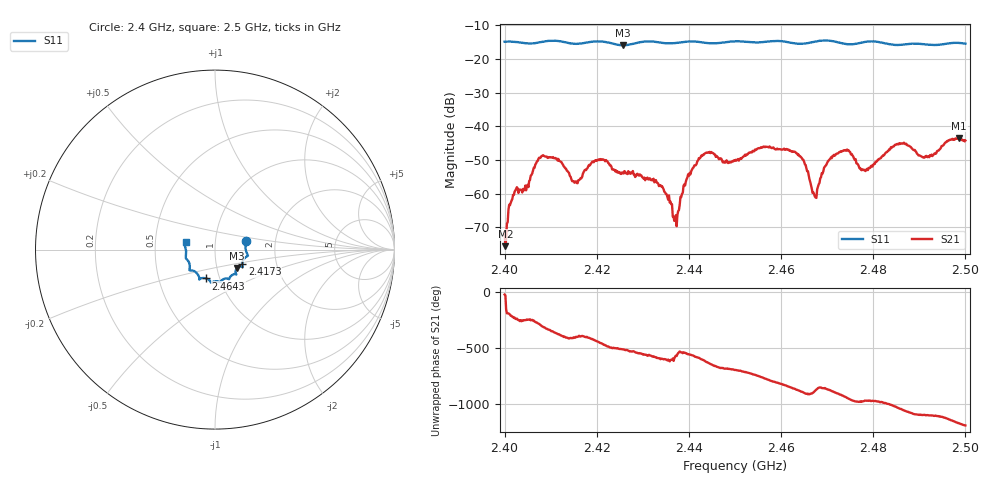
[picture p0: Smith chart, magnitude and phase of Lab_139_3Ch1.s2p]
# Hz S RI R 50
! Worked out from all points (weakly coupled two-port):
!   601 points, 2.4 GHz to 2.5 GHz, reference 50 ohm
!   highest |S21| = -43.48 dB at 2.4987 GHz (marker M1); lowest = -75.6 dB at 2.4002 GHz (marker M2)
!   lowest |S11| = -15.9 dB at 2.4257 GHz (marker M3), VSWR 1.38, Z = 62.4 - j13.1 ohm
!   |S11| at or under -10 dB: start of sweep to end of sweep
!   S12 and S22 are empty: the file has one direction only
!   S11 on the Smith chart (normalised r, x): 2.4 GHz: 1.41, +0.14; 2.4173 GHz: 1.34, -0.23; 2.4643 GHz: 0.86, -0.28; 2.5 GHz: 0.72, +0.06
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2.4e9  0.1738 0.0493  0.00024 -0.000118  0 0  0 0
2.400167e9  0.1742 0.0487  0.00014 -8.87e-05  0 0  0 0
2.402167e9  0.1753 0.04  -0.00066 0.000839  0 0  0 0
2.407833e9  0.177 -0.0197  0.00168 0.00301  0 0  0 0
2.416667e9  0.1527 -0.0749  0.00134 -0.00103  0 0  0 0
2.417333e9  0.152 -0.0823  0.00164 -0.00148  0 0  0 0
2.420833e9  0.1545 -0.0967  -0.000479 -0.00323  0 0  0 0
2.425667e9  0.1223 -0.1025  -0.00184 -0.000903  0 0  0 0
2.433333e9  0.1125 -0.1365  -0.000842 0.00114  0 0  0 0
2.437e9  0.0872 -0.1486  -0.000308 0.000262  0 0  0 0
2.439333e9  0.0805 -0.1611  -0.00149 0.000265  0 0  0 0
2.442667e9  0.0714 -0.1624  -0.00167 0.00326  0 0  0 0
2.45e9  0.0294 -0.1809  0.00287 0.00113  0 0  0 0
2.456667e9  -0.0118 -0.1797  0.00277 -0.00416  0 0  0 0
2.464333e9  -0.0501 -0.1604  -0.00344 -0.000501  0 0  0 0
2.466667e9  -0.0763 -0.1596  -0.00117 0.000183  0 0  0 0
2.4725e9  -0.0891 -0.1517  -0.00399 0.000757  0 0  0 0
2.478333e9  -0.1375 -0.1158  -0.000678 0.00206  0 0  0 0
2.483333e9  -0.1405 -0.0895  0.000912 0.00426  0 0  0 0
2.491667e9  -0.1614 -0.0289  0.0033 -0.00122  0 0  0 0
2.498667e9  -0.1697 0.0348  -0.000552 -0.00668  0 0  0 0
2.5e9  -0.1634 0.0417  -0.00239 -0.00567  0 0  0 0
